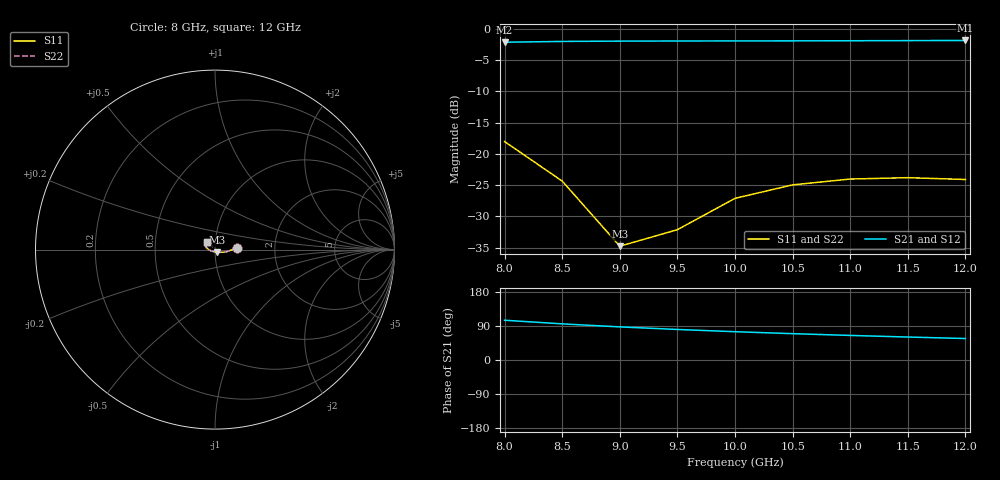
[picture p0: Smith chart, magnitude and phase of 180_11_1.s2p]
! Created Thu Oct 22 17:00:14 2020
# hz S ma R 50
! 2 Port Network Data from SP1.SP block
! freq  magS11  angS11  magS21  angS21  magS12  angS12  magS22  angS22
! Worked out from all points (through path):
!   9 points, 8 GHz to 12 GHz, reference 50 ohm
!   highest |S21| = -1.87 dB at 12 GHz (marker M1); lowest = -2.1 dB at 8 GHz (marker M2)
!   lowest |S11| = -34.8 dB at 9 GHz (marker M3), VSWR 1.04, Z = 50.9 - j1.6 ohm
!   |S11| at or under -10 dB: start of sweep to end of sweep
!   |S22| runs from -34.8 to -18.0 dB; largest |S21 - S12| = 0
8e9  0.1254 4.6  0.7809 104.9  0.7809 104.9  0.1254 4.6
8.5e9  0.06059 -13.3  0.7923 95.4  0.7923 95.4  0.06055 -13.2
9e9  0.01829 -58.9  0.7968 87.4  0.7968 87.4  0.01821 -58.8
9.5e9  0.02477 -164.0  0.7986 80.6  0.7986 80.6  0.02474 -164.3
1e10  0.0441 172.4  0.7996 74.7  0.7996 74.7  0.04408 172.3
1.05e10  0.05653 160.9  0.8008 69.5  0.8008 69.5  0.05652 160.8
1.1e10  0.06292 152.1  0.8023 64.8  0.8023 64.8  0.06291 152.0
1.15e10  0.06453 144.3  0.8043 60.6  0.8043 60.6  0.06453 144.2
1.2e10  0.0624 136.6  0.8066 56.7  0.8066 56.7  0.06241 136.5
